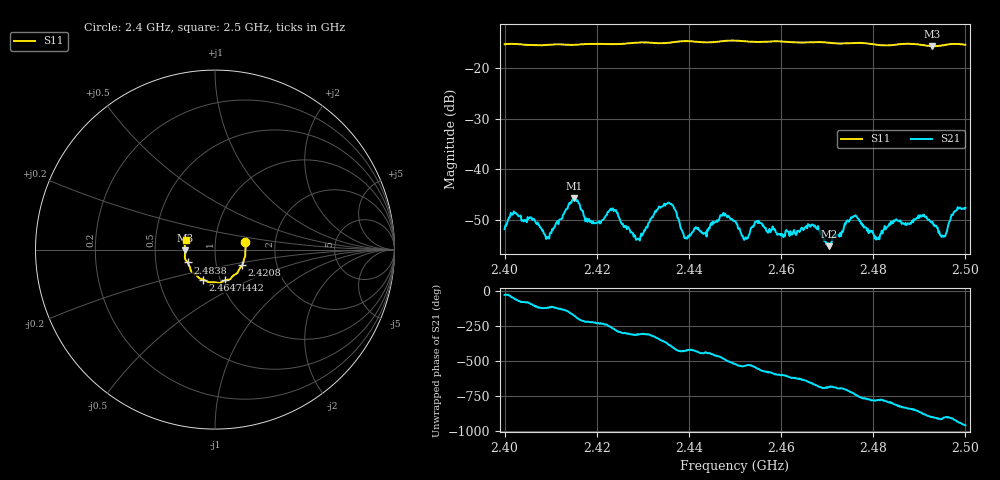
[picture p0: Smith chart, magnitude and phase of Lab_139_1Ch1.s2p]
# Hz S RI R 50
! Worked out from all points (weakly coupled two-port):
!   601 points, 2.4 GHz to 2.5 GHz, reference 50 ohm
!   highest |S21| = -45.77 dB at 2.4152 GHz (marker M1); lowest = -55.3 dB at 2.4703 GHz (marker M2)
!   lowest |S11| = -15.6 dB at 2.4928 GHz (marker M3), VSWR 1.40, Z = 35.8 - j0.361 ohm
!   |S11| at or under -10 dB: start of sweep to end of sweep
!   S12 and S22 are empty: the file has one direction only
!   S11 on the Smith chart (normalised r, x): 2.4 GHz: 1.40, +0.12; 2.4208 GHz: 1.33, -0.24; 2.4442 GHz: 1.05, -0.37; 2.4647 GHz: 0.83, -0.29; 2.4838 GHz: 0.73, -0.11; 2.5 GHz: 0.72, +0.08
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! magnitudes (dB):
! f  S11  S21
! 2.4 GHz  -15.3  -51.9
! 2.4023 GHz  -15.2  -48.7
! 2.4093 GHz  -15.4  -53.6
! 2.4152 GHz  -15.4  -45.8
! 2.4167 GHz  -15.3  -48.0
! 2.4208 GHz  -15.2  -50.7
! 2.4237 GHz  -15.2  -48.3
! 2.429 GHz  -14.9  -53.8
! 2.4333 GHz  -15.0  -47.8
! 2.4362 GHz  -14.9  -46.9
! 2.4395 GHz  -14.6  -53.8
! 2.4442 GHz  -14.9  -52.2
! 2.45 GHz  -14.5  -50.3
! 2.4647 GHz  -14.9  -51.8
! 2.4667 GHz  -14.8  -51.0
! 2.4703 GHz  -14.9  -55.3
! 2.4757 GHz  -15.0  -49.5
! 2.4833 GHz  -15.5  -51.2
! 2.4838 GHz  -15.4  -50.4
! 2.4928 GHz  -15.6  -50.5
! 2.4953 GHz  -15.4  -53.3
! 2.5 GHz  -15.3  -47.7
